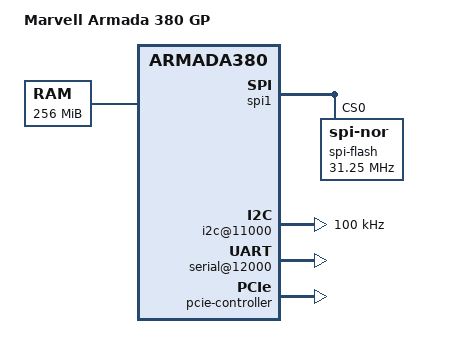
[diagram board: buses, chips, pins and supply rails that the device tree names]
/*
 * Device Tree file for Marvell Armada 380 development board
 * (DB-88F6810-GP)
 *
 * Copyright (C) 2015 Marvell
 *
 * Nadav Haklai <nadavh@marvell.com>
 *
 * This file is dual-licensed: you can use it either under the terms
 * of the GPL or the X11 license, at your option. Note that this dual
 * licensing only applies to this file, and not this project as a
 * whole.
 *
 *  a) This file is licensed under the terms of the GNU General Public
 *     License version 2.  This program is licensed "as is" without
 *     any warranty of any kind, whether express or implied.
 *
 * Or, alternatively,
 *
 *  b) Permission is hereby granted, free of charge, to any person
 *     obtaining a copy of this software and associated documentation
 *     files (the "Software"), to deal in the Software without
 *     restriction, including without limitation the rights to use,
 *     copy, modify, merge, publish, distribute, sublicense, and/or
 *     sell copies of the Software, and to permit persons to whom the
 *     Software is furnished to do so, subject to the following
 *     conditions:
 *
 *     The above copyright notice and this permission notice shall be
 *     included in all copies or substantial portions of the Software.
 *
 *     THE SOFTWARE IS PROVIDED "AS IS", WITHOUT WARRANTY OF ANY KIND,
 *     EXPRESS OR IMPLIED, INCLUDING BUT NOT LIMITED TO THE WARRANTIES
 *     OF MERCHANTABILITY, FITNESS FOR A PARTICULAR PURPOSE AND
 *     NONINFRINGEMENT. IN NO EVENT SHALL THE AUTHORS OR COPYRIGHT
 *     HOLDERS BE LIABLE FOR ANY CLAIM, DAMAGES OR OTHER LIABILITY,
 *     WHETHER IN AN ACTION OF CONTRACT, TORT OR OTHERWISE, ARISING
 *     FROM, OUT OF OR IN CONNECTION WITH THE SOFTWARE OR THE USE OR
 *     OTHER DEALINGS IN THE SOFTWARE.
 */

/dts-v1/;
#include "armada-380.dtsi"
#include <dt-bindings/gpio/gpio.h>

/ {
	model = "Marvell Armada 380 GP";
	compatible = "marvell,a380-gp", "marvell,armada380";

	chosen {
		bootargs = "console=ttyS0,38400";
		stdout-path = &uart0;
	};

	memory {
		device_type = "memory";
		reg = <0x00000000 0x10000000>; /* 256MB */
	};

	soc {
		ranges = <MBUS_ID(0xf0, 0x01) 0 0xf1000000 0x100000
			  MBUS_ID(0x01, 0x1d) 0 0xfff00000 0x100000>;

		internal-regs {

			spi1: spi@10680 {
				
				status = "okay";
				
				spi-flash@0 {
					#address-cells = <1>;
					#size-cells = <1>;
					compatible = "jedec,spi-nor";
					reg = <0>; /* Chip select 0 */
					spi-max-frequency = <31250000>;
				};
			};

			i2c@11000 {
				/*pinctrl-names = "default";
				pinctrl-0 = <&i2c0_pins>;*/
				status = "okay";
				clock-frequency = <100000>;
				
			};

			serial@12000 {
				/*
				 * Exported on the micro USB connector CON16
				 * through an FTDI
				 */

				pinctrl-names = "default";
				pinctrl-0 = <&uart0_pins>;
				status = "okay";
			};
			
			system-controller@18200 {
				compatible = "marvell,armada-380-system-controller",
					     "marvell,armada-370-xp-system-controller";
				reg = <0x18200 0x100>;
				wdog-gpio = <46>;
				rst-gpio = <54>;
				wdog-invt = <1>;
				rst-invt = <1>;
			};

			/* GE1 CON15 */
			/*
			ethernet@30000 {
				status = "okay";
				phy = <&phy1>;
				phy-mode = "sgmii";
			};
			*/
			mdio@72004 {
				pinctrl-names = "default";
				pinctrl-0 = <&mdio_pins>;
				/*
				phy1: ethernet-phy@1 {
					reg = <999>;
				};
				*/
			};
		};

		pcie-controller {
			status = "okay";
			/*
			 * One PCIe units is accessible through
			 * standard PCIe slot on the board.
			 */
			pcie@3,0 {
				/* Port 0, Lane 0 */
				status = "okay";
			};
		};
	};
};
